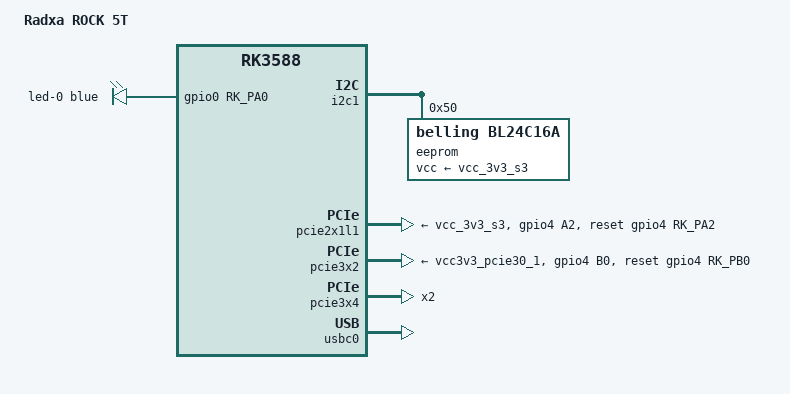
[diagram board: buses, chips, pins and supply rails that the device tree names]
// SPDX-License-Identifier: (GPL-2.0+ OR MIT)
/*
 * Copyright (c) 2024 Radxa Computer (Shenzhen) Co., Ltd.
 */

/dts-v1/;

#include "rk3588-rock-5.dtsi"

/delete-node/ &leds;

/ {
	model = "Radxa ROCK 5T";
	compatible = "radxa,rock-5t", "rockchip,rk3588";

	analog-sound {
		hp-det-gpios = <&gpio4 RK_PC3 GPIO_ACTIVE_HIGH>;
	};

	leds: gpio-leds {
		compatible = "gpio-leds";

		led-0 {
			color = <LED_COLOR_ID_BLUE>;
			default-state = "on";
			function = LED_FUNCTION_STATUS;
			gpios = <&gpio0 RK_PA0 GPIO_ACTIVE_HIGH>;
			linux,default-trigger = "heartbeat";
		};
	};

	regulator-vcc3v3-wf {
		gpios = <&gpio2 RK_PC0 GPIO_ACTIVE_HIGH>;
	};

	regulator-vcc5v-usb {
		gpios = <&gpio1 RK_PA1 GPIO_ACTIVE_HIGH>;
	};

	regulator-vcc-5v {
		enable-active-high;
		gpios = <&gpio1 RK_PA0 GPIO_ACTIVE_HIGH>;
		pinctrl-names = "default";
		pinctrl-0 = <&hub_rst_1v8>;
	};

	rfkill {
		label = "rfkill-wlan";
		shutdown-gpios = <&gpio1 RK_PB0 GPIO_ACTIVE_HIGH>;
	};

	rfkill-bt {
		label = "rfkill-bt";
	};
};

&i2c1 {
	eeprom@50 {
		compatible = "belling,bl24c16a", "atmel,24c16";
		reg = <0x50>;
		pagesize = <16>;
		vcc-supply = <&vcc_3v3_s3>;
	};
};

&pcie2x1l1 {
	pinctrl-names = "default";
	pinctrl-0 = <&pcie30x1_1_perstn_m1>;
	reset-gpios = <&gpio4 RK_PA2 GPIO_ACTIVE_HIGH>;
	vpcie3v3-supply = <&vcc_3v3_s3>;
	status = "okay";
};

&pcie30phy {
	data-lanes = <1 1 2 2>;
};

&pcie3x2 {
	pinctrl-names = "default";
	pinctrl-0 = <&pcie30x2_perstn_m1>;
	reset-gpios = <&gpio4 RK_PB0 GPIO_ACTIVE_HIGH>;
	vpcie3v3-supply = <&vcc3v3_pcie30_1>;
	status = "okay";
};

&pcie3x4 {
	num-lanes = <2>;
};

&pinctrl {
	pcie2 {
		ekey_en: ekey-en {
			rockchip,pins = <2 RK_PC0 RK_FUNC_GPIO &pcfg_pull_none>;
		};

		pcie30x1_1_perstn_m1: pcie30x1-1-perstn-m1 {
			rockchip,pins = <4 RK_PA2 RK_FUNC_GPIO &pcfg_pull_none>;
		};
	};

	pcie3 {
		pcie30x2_perstn_m1: pcie30x4-perstn-m1 {
			rockchip,pins = <4 RK_PB0 RK_FUNC_GPIO &pcfg_pull_none>;
		};
	};

	sound {
		hp_detect: hp-detect {
			rockchip,pins = <4 RK_PC3 RK_FUNC_GPIO &pcfg_pull_none>;
		};
	};

	usb {
		hub_rst_1v8: hub-rst-1v8 {
			rockchip,pins = <1 RK_PA0 RK_FUNC_GPIO &pcfg_pull_none>;
		};

		usb_host_pwren_h: usb-host-pwren-h {
			rockchip,pins = <1 RK_PA1 RK_FUNC_GPIO &pcfg_pull_none>;
		};
	};
};

&pwm0 {
	status = "disabled";
};

&u2phy0_otg {
	phy-supply = <&vbus_typec0>;
};

&u2phy1_otg {
	/* connected to USB hub, which is powered by vcc_5v */
	phy-supply = <&vcc_5v>;
};

&u2phy2_host {
	/* connected to USB hub, which is powered by vcc_5v */
	phy-supply = <&vcc_5v>;
};

&usb_host2_xhci {
	status = "disabled";
};

&usbc0 {
	status = "okay";
};

&usbc0_con {
	power-role = "source";
	source-pdos =
		<PDO_FIXED(5000, 3000, PDO_FIXED_USB_COMM)>;
};

&usbdp_phy0 {
	sbu1-dc-gpios = <&gpio0 RK_PC4 GPIO_ACTIVE_HIGH>;
	sbu2-dc-gpios = <&gpio0 RK_PC5 GPIO_ACTIVE_HIGH>;
};
